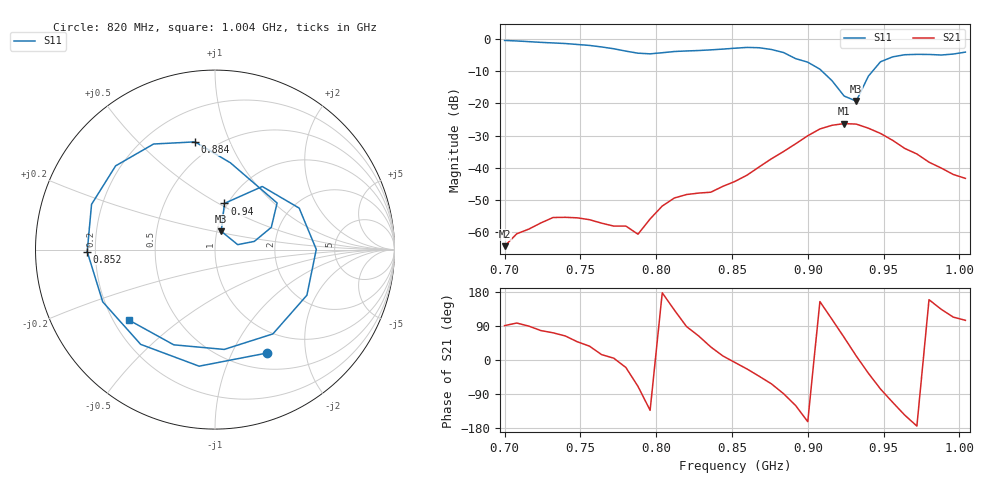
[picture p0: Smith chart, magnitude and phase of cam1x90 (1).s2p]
# Hz S RI R 50
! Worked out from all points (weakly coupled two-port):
!   39 points, 700 MHz to 1.004 GHz, reference 50 ohm
!   highest |S21| = -26.30 dB at 924 MHz (marker M1); lowest = -64.3 dB at 700 MHz (marker M2)
!   lowest |S11| = -19.3 dB at 932 MHz (marker M3), VSWR 1.24, Z = 52.5 + j10.9 ohm
!   |S11| at or under -10 dB: 909.3 MHz to 942.9 MHz (33.63 MHz wide, 3.63 % of centre)
!   S12 and S22 are empty: the file has one direction only
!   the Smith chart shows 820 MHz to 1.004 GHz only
!   S11 on the Smith chart (normalised r, x): 820 MHz: 0.70, -1.38; 852 MHz: 0.17, -0.01; 884 MHz: 0.39, +0.75; 940 MHz: 0.97, +0.53; 1.004 GHz: 0.26, -0.34
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7e8  0.7619 0.5482  -7.85e-06 0.000612  0 0  0 0
7.24e8  0.8408 -0.2482  0.000301 0.00137  0 0  0 0
7.4e8  0.4575 -0.7063  0.000765 0.00153  0 0  0 0
7.56e8  -0.1935 -0.7621  0.00126 0.000936  0 0  0 0
7.72e8  -0.6681 -0.2033  0.00125 0.000105  0 0  0 0
7.8e8  -0.6016 0.2236  0.00118 -0.000424  0 0  0 0
7.88e8  -0.2606 0.5359  0.000326 -0.000879  0 0  0 0
7.96e8  0.2312 0.5346  -0.0011 -0.00118  0 0  0 0
8.04e8  0.5741 0.1939  -0.00256 0.000117  0 0  0 0
8.2e8  0.2914 -0.5759  0.000112 0.00386  0 0  0 0
8.36e8  -0.4141 -0.528  0.00345 0.00237  0 0  0 0
8.52e8  -0.712 -0.0114  0.00612 -0.000714  0 0  0 0
8.68e8  -0.5536 0.4667  0.00756 -0.00707  0 0  0 0
8.84e8  -0.1109 0.6002  0.000398 -0.0179  0 0  0 0
9e8  0.346 0.2596  -0.03 -0.00931  0 0  0 0
9.08e8  0.3136 0.124  -0.0359 0.0174  0 0  0 0
9.24e8  0.1263 0.0277  0.0245 0.0417  0 0  0 0
9.32e8  0.0348 0.1022  0.0468 0.00873  0 0  0 0
9.4e8  0.0528 0.2575  0.0337 -0.0235  0 0  0 0
9.56e8  0.469 0.2311  -0.00982 -0.0248  0 0  0 0
9.8e8  0.3227 -0.4696  -0.0114 0.00435  0 0  0 0
1.004e9  -0.4783 -0.3933  -0.00175 0.00664  0 0  0 0
